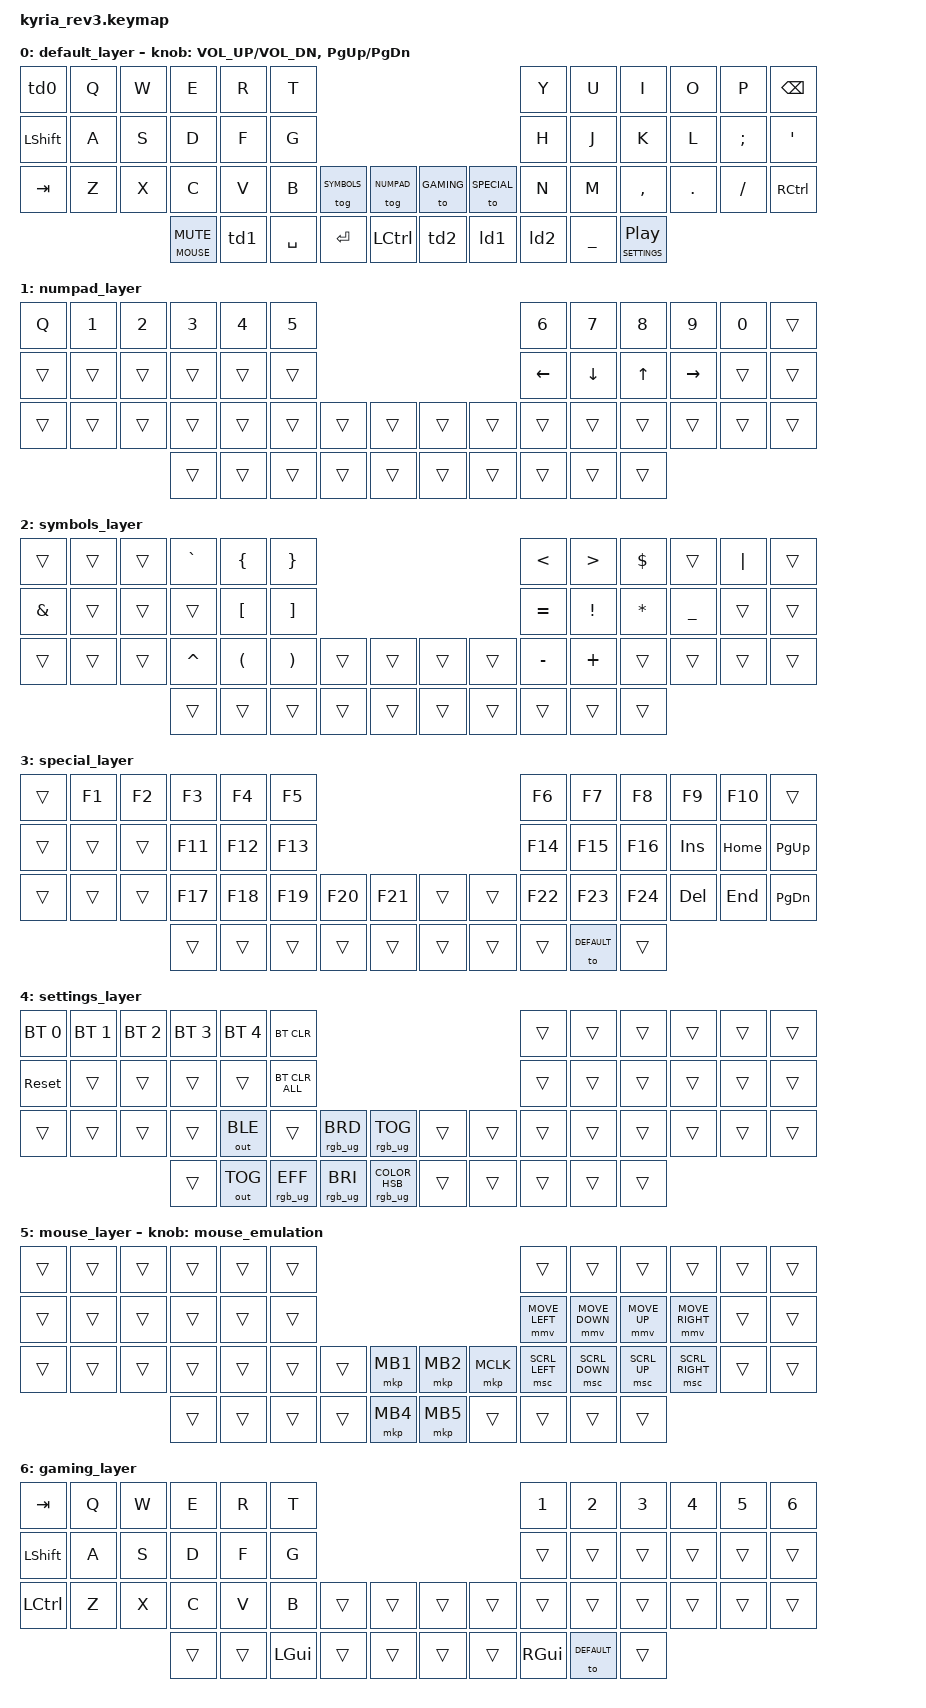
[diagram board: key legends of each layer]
/*
 * Copyright (c) 2023 The ZMK Contributors
 *
 * SPDX-License-Identifier: MIT
 */

#include <behaviors.dtsi>
#include <dt-bindings/zmk/bt.h>
#include <dt-bindings/zmk/keys.h>
// This is needed for mousing
#include <dt-bindings/zmk/pointing.h>
#include <dt-bindings/zmk/rgb.h>
#include <dt-bindings/zmk/outputs.h>

#define ZMK_POINTING_DEFAULT_SCRL_VAL 20
#define ZMK_POINTING_DEFAULT_MOVE_VAL 1500

// We define our layers
#define DEFAULT 0
// Almost like numpad, the idea is I expose numbers and arrow keys here?
#define NUMPAD 1
// The idea here is we expose symbols I can use within VIM?
#define SYMBOLS 2
// The idea here is we need something for F keys and special num keys
#define SPECIAL 3
// The idea here is to allow me to change settings like BT, display, RGB etc
#define SETTINGS 4
// The idea here is we need a mouse layer for true keyboard only
#define MOUSE 5
// We define a simple gaming layer here
#define GAMING 6

&led_strip {
    // Defines my RGB chain length
    chain-length = <31>;
};

&lt {
    tapping-term-ms = <200>;
};

&caps_word {
    continue-list = <UNDERSCORE MINUS SPACE BACKSPACE>;
};

&nice_view_spi { cs-gpios = <&gpio1 1 GPIO_ACTIVE_HIGH>; };

/ {
    behaviors {
    mouse_emulation: mouse_emulation {
            compatible = "zmk,behavior-sensor-rotate";
            #sensor-binding-cells = <0>;
            bindings = <&msc SCRL_DOWN>, <&msc SCRL_UP>;
        };

    td0: td0 {
      compatible = "zmk,behavior-tap-dance";
      label = "TD0";
      #binding-cells = <0>;
      bindings = <&kp ESCAPE>, <&kp TAB>;

      tapping-term-ms = <250>;
  };

  td1: td1 {
            compatible = "zmk,behavior-tap-dance";
            label = "TD1";
            #binding-cells = <0>;
            tapping-term-ms = <450>;
            bindings = <&lm 1 LEFT_ALT>, <&sk LSHIFT>, <&caps_word>;
        };

  td2: td2 {
            compatible = "zmk,behavior-tap-dance";
            label = "TD2";
            #binding-cells = <0>;
            tapping-term-ms = <450>;
            bindings = <&kp LEFT_SHIFT>, <&kp ENTER>;
        };

  ld1: ld1 {
      compatible = "zmk,behavior-tap-dance";
      label = "LD1";
      #binding-cells = <0>;
      bindings = <&sl NUMPAD>, <&mo NUMPAD>;

      tapping-term-ms = <250>;
  };

  ld2: ld2 {
      compatible = "zmk,behavior-tap-dance";
      label = "LD2";
      #binding-cells = <0>;
      bindings = <&sl SYMBOLS>, <&mo SYMBOLS>;

      tapping-term-ms = <250>;
  };


    };

    /**
    * Temporarily switches to a layer (`&mo`) while a modifier is held.
    * Analogous to QMK's `LM()`, using a parameterized macro.
    *
    * Params:
    *  1. Layer to switch to
    *  2. Modifier to press while layer is active
    *
    * Example:
    *  `&lm NUM_LAYER LSHIFT`
    */

    lm: lm {
      compatible = "zmk,behavior-macro-two-param";
      wait-ms = <0>;
      tap-ms = <0>;
      #binding-cells = <2>;
      bindings
        = <&macro_param_1to1>
        , <&macro_press &mo MACRO_PLACEHOLDER>
        , <&macro_param_2to1>
        , <&macro_press &kp MACRO_PLACEHOLDER>
        , <&macro_pause_for_release>
        , <&macro_param_2to1>
        , <&macro_release &kp MACRO_PLACEHOLDER>
        , <&macro_param_1to1>
        , <&macro_release &mo MACRO_PLACEHOLDER>
        ;
    };

    keymap {
        compatible = "zmk,keymap";

        default_layer {
            bindings = <
&td0            &kp Q  &kp W  &kp E             &kp R    &kp T                                                              &kp Y  &kp U      &kp I                      &kp O    &kp P     &kp BACKSPACE
&kp LEFT_SHIFT  &kp A  &kp S  &kp D             &kp F    &kp G                                                              &kp H  &kp J      &kp K                      &kp L    &kp SEMI  &kp SQT
&kp TAB       &kp Z  &kp X  &kp C             &kp V    &kp B         &tog SYMBOLS    &tog NUMPAD  &to GAMING           &to SPECIAL  &kp N  &kp M      &kp COMMA                  &kp DOT  &kp FSLH  &kp RCTRL
                              &lt MOUSE C_MUTE &td1  &kp SPACE  &kp ENTER &kp LCTRL   &td2  &ld1 &ld2 &kp UNDERSCORE  &lt SETTINGS C_PLAY_PAUSE
            >;

            sensor-bindings = <&inc_dec_kp C_VOL_UP C_VOL_DN &inc_dec_kp PG_UP PG_DN>;
        };

        numpad_layer {
            bindings = <
&kp Q  &kp N1  &kp N2  &kp N3  &kp N4  &kp N5                                  &kp N6    &kp N7    &kp N8        &kp N9     &kp N0  &trans
&trans  &trans  &trans  &trans  &trans  &trans                                  &kp LEFT  &kp DOWN  &kp UP_ARROW  &kp RIGHT  &trans  &trans
&trans  &trans  &trans  &trans  &trans  &trans  &trans  &trans  &trans  &trans  &trans    &trans    &trans        &trans     &trans  &trans
                        &trans  &trans  &trans  &trans  &trans  &trans  &trans  &trans    &trans    &trans
            >;
        };

symbols_layer {
            bindings = <
&trans         &trans  &trans  &kp GRAVE  &kp LEFT_BRACE        &kp RIGHT_BRACE                                        &kp LESS_THAN  &kp GREATER_THAN  &kp DOLLAR    &trans          &kp PIPE  &trans
&kp AMPERSAND  &trans  &trans  &trans     &kp LBKT              &kp RBKT                                               &kp EQUAL      &kp EXCLAMATION   &kp ASTERISK  &kp UNDERSCORE  &trans    &trans
&trans         &trans  &trans  &kp CARET  &kp LEFT_PARENTHESIS  &kp RIGHT_PARENTHESIS  &trans  &trans  &trans  &trans  &kp MINUS         &kp PLUS          &trans        &trans          &trans    &trans
                               &trans     &trans                &trans                 &trans  &trans  &trans  &trans  &trans         &trans            &trans
            >;
        };

        special_layer {
            bindings = <
&trans  &kp F1  &kp F2  &kp F3   &kp F4   &kp F5                                     &kp F6   &kp F7   &kp F8   &kp F9      &kp F10   &trans
&trans  &trans  &trans  &kp F11  &kp F12  &kp F13                                    &kp F14  &kp F15  &kp F16  &kp INSERT  &kp HOME  &kp PAGE_UP
&trans  &trans  &trans  &kp F17  &kp F18  &kp F19  &kp F20  &kp F21  &trans  &trans  &kp F22  &kp F23  &kp F24  &kp DELETE  &kp END   &kp PAGE_DOWN
                        &trans   &trans   &trans   &trans   &trans   &trans  &trans  &trans   &to DEFAULT   &trans
            >;
        };

        settings_layer {
            bindings = <
&bt BT_SEL 0  &bt BT_SEL 1  &bt BT_SEL 2  &bt BT_SEL 3  &bt BT_SEL 4  &bt BT_CLR                                                                          &trans  &trans  &trans  &trans  &trans  &trans
&sys_reset        &trans        &trans        &trans        &trans        &bt BT_CLR_ALL                                                                              &trans  &trans  &trans  &trans  &trans  &trans
&trans        &trans        &trans        &trans        &out OUT_BLE        &trans           &rgb_ug RGB_BRD  &rgb_ug RGB_TOG                   &trans  &trans  &trans  &trans  &trans  &trans  &trans  &trans
                                          &trans        &out OUT_TOG        &rgb_ug RGB_EFF  &rgb_ug RGB_BRI  &rgb_ug RGB_COLOR_HSB(296,78,25)  &trans  &trans  &trans  &trans  &trans
            >;
        };

        mouse_layer {
            bindings = <
&trans  &trans  &trans  &trans  &trans  &trans                                         &trans          &trans          &trans        &trans           &trans  &trans
&trans  &trans  &trans  &trans  &trans  &trans                                         &mmv MOVE_LEFT  &mmv MOVE_DOWN  &mmv MOVE_UP  &mmv MOVE_RIGHT  &trans  &trans
&trans  &trans  &trans  &trans  &trans  &trans  &trans  &mkp MB1  &mkp MB2  &mkp MCLK  &msc SCRL_LEFT  &msc SCRL_DOWN  &msc SCRL_UP  &msc SCRL_RIGHT  &trans  &trans
                        &trans  &trans  &trans  &trans  &mkp MB4  &mkp MB5  &trans     &trans          &trans          &trans
            >;

            sensor-bindings = <&mouse_emulation>;
        };

        gaming_layer {
            bindings = <
&kp TAB    &kp Q  &kp W  &kp E   &kp R   &kp T                                     &kp N1    &kp N2  &kp N3  &kp N4  &kp N5  &kp N6
&kp LSHFT  &kp A  &kp S  &kp D   &kp F   &kp G                                     &trans    &trans  &trans  &trans  &trans  &trans
&kp LCTRL  &kp Z  &kp X  &kp C   &kp V   &kp B     &trans  &trans  &trans  &trans  &trans    &trans  &trans  &trans  &trans  &trans
                         &trans  &trans  &kp LGUI  &trans  &trans  &trans  &trans  &kp RGUI  &to DEFAULT &trans
            >;
        };
    };
};

